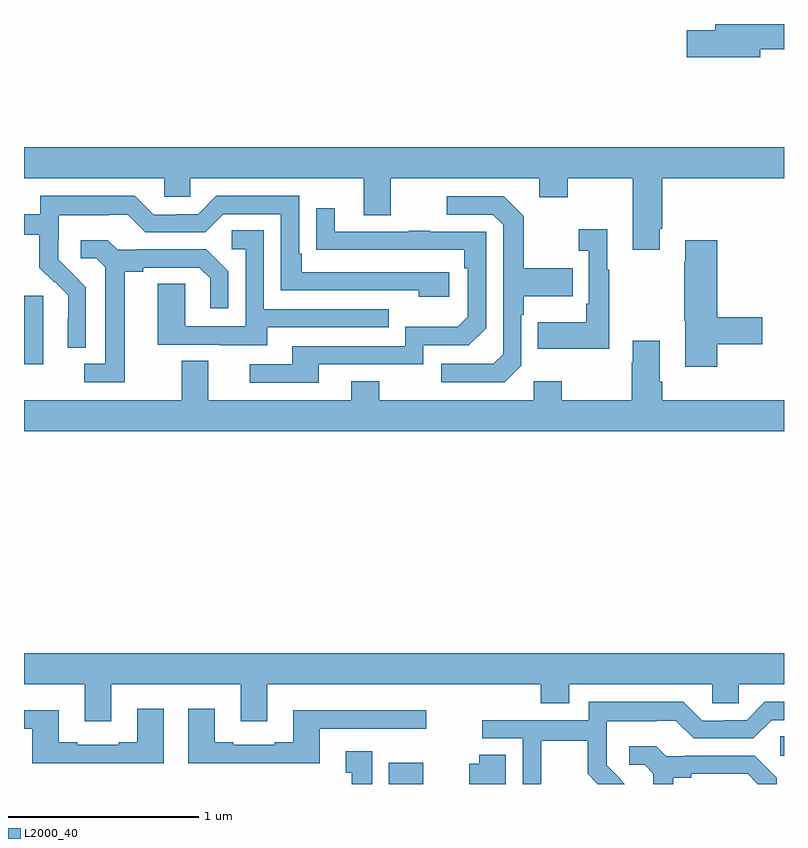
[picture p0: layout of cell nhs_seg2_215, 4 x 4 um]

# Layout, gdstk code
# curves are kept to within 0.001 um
import gdstk
lib = gdstk.Library(unit=1e-6, precision=1e-09)
def R(c, l, rs):  # rectangles x0, y0, x1, y1
    for r in rs: c.add(gdstk.rectangle(r[:2], r[2:], *l))
def P(c, l, *ps):  # polygons
    for p in ps: c.add(gdstk.Polygon(p, *l))
L2000_40 = (2000, 40)

nhs_seg2_215 = lib.new_cell('nhs_seg2_215')
R(nhs_seg2_215, L2000_40, [(122.921,625.8,123.1,625.912), (124.98,625.95,125,626.051), (121,628.01,121.102,628.371)])
P(nhs_seg2_215, L2000_40, [(124.876,629.668),(125,629.668),(125,629.8),(124.637,629.8),(124.637,629.768),(124.488,629.768),(124.488,629.626),(124.876,629.626)],
  [(124.345,628.723),(124.358,628.723),(124.358,628.988),(125,628.988),(125,629.152),(121,629.152),(121,628.988),(121.737,628.988),(121.737,628.89),(121.875,628.89),(121.875,628.988),(122.789,628.988),(122.789,628.794),(122.929,628.794),(122.929,628.988),(123.713,628.988),(123.713,628.889),(123.861,628.889),(123.861,628.988),(124.205,628.988),(124.205,628.611),(124.345,628.611)],
  [(121.326,628.414),(121.18,628.562),(121.18,628.659),(121.182,628.659),(121.182,628.793),(121.445,628.793),(121.445,628.797),(121.545,628.797),(121.638,628.704),(121.953,628.704),(122.049,628.8),(122.352,628.8),(122.352,628.398),(123.077,628.398),(123.077,628.364),(123.238,628.364),(123.238,628.494),(122.461,628.494),(122.461,628.591),(122.448,628.591),(122.448,628.896),(122.013,628.896),(121.917,628.8),(121.799,628.8),(121.799,628.797),(121.683,628.797),(121.583,628.897),(121.086,628.897),(121.086,628.8),(121,628.8),(121,628.692),(121.081,628.692),(121.081,628.517),(121.158,628.44),(121.161,628.443),(121.232,628.373),(121.232,628.25),(121.23,628.25),(121.23,628.096),(121.326,628.096)],
  [(123.618,628.002),(123.618,628.271),(123.631,628.271),(123.631,628.367),(123.887,628.367),(123.887,628.515),(123.631,628.515),(123.631,628.787),(123.525,628.893),(123.225,628.893),(123.225,628.797),(123.468,628.797),(123.522,628.743),(123.522,628.062),(123.471,628.011),(123.195,628.011),(123.195,627.915),(123.531,627.915)],
  [(122.551,628.008),(123.102,628.008),(123.102,628.11),(123.342,628.11),(123.432,628.2),(123.432,628.707),(123.137,628.707),(123.137,628.712),(123.025,628.712),(123.025,628.707),(122.635,628.707),(122.635,628.831),(122.539,628.831),(122.539,628.612),(123.316,628.611),(123.316,628.514),(123.336,628.514),(123.336,628.26),(123.283,628.207),(123.006,628.207),(123.006,628.104),(122.411,628.104),(122.411,628.008),(122.187,628.008),(122.187,627.912),(122.551,627.912)],
  [(124.081,628.507),(124.069,628.507),(124.069,628.72),(123.921,628.72),(123.921,628.607),(123.972,628.607),(123.972,628.327),(123.96,628.327),(123.96,628.231),(123.703,628.231),(123.703,628.091),(124.081,628.091)],
  [(122.281,628.203),(122.921,628.203),(122.921,628.299),(122.262,628.299),(122.262,628.715),(122.094,628.715),(122.094,628.614),(122.166,628.614),(122.166,628.209),(121.848,628.209),(121.848,628.433),(121.703,628.433),(121.703,628.113),(122.027,628.113),(122.027,628.109),(122.281,628.109)],
  [(124.649,628.114),(124.885,628.114),(124.885,628.256),(124.649,628.256),(124.649,628.663),(124.481,628.663),(124.481,628.55),(124.474,628.55),(124.474,628.239),(124.481,628.239),(124.481,627.996),(124.649,627.996)],
  [(121.531,628.496),(121.627,628.496),(121.627,628.518),(121.922,628.518),(121.979,628.461),(121.979,628.305),(122.076,628.305),(122.076,628.498),(121.96,628.614),(121.588,628.614),(121.588,628.611),(121.494,628.611),(121.442,628.663),(121.299,628.663),(121.299,628.566),(121.38,628.566),(121.427,628.519),(121.427,628.011),(121.317,628.011),(121.317,627.915),(121.531,627.915)],
  [(125,627.82),(124.358,627.82),(124.358,627.916),(124.345,627.916),(124.345,628.132),(124.205,628.132),(124.205,628.019),(124.198,628.019),(124.198,627.82),(123.831,627.82),(123.831,627.919),(123.684,627.919),(123.684,627.82),(122.871,627.82),(122.871,627.919),(122.723,627.919),(122.723,627.82),(121.969,627.82),(121.969,628.028),(121.829,628.028),(121.829,627.82),(121,627.82),(121,627.656),(125,627.656)],
  [(121.459,626.324),(122.141,626.324),(122.141,626.13),(122.281,626.13),(122.281,626.324),(123.719,626.324),(123.719,626.225),(123.871,626.225),(123.871,626.324),(124.623,626.324),(124.623,626.226),(124.761,626.226),(124.761,626.324),(125,626.324),(125,626.488),(121,626.488),(121,626.324),(121.319,626.324),(121.319,626.13),(121.459,626.13)],
  [(123.72,625.804),(123.723,625.804),(123.723,626.028),(123.967,626.028),(123.967,625.853),(124.02,625.8),(124.162,625.8),(124.139,625.823),(124.14,625.824),(124.066,625.898),(124.066,625.995),(124.068,625.995),(124.068,626.129),(124.331,626.129),(124.331,626.133),(124.431,626.133),(124.524,626.04),(124.839,626.04),(124.935,626.136),(125,626.136),(125,626.232),(124.899,626.232),(124.803,626.136),(124.685,626.136),(124.685,626.133),(124.569,626.133),(124.469,626.233),(123.972,626.233),(123.972,626.136),(123.411,626.136),(123.411,626.04),(123.624,626.04),(123.624,625.8),(123.72,625.8)],
  [(122.557,626.091),(123.118,626.091),(123.118,626.188),(122.417,626.188),(122.417,626.02),(122.321,626.02),(122.321,626.007),(122.101,626.007),(122.101,626.02),(122.005,626.02),(122.005,626.197),(121.865,626.197),(121.865,625.91),(122.557,625.91)],
  [(121.735,626.197),(121.595,626.197),(121.595,626.02),(121.499,626.02),(121.499,626.007),(121.279,626.007),(121.279,626.02),(121.183,626.02),(121.183,626.188),(121,626.188),(121,626.091),(121.043,626.091),(121.043,625.91),(121.735,625.91)],
  [(124.417,625.832),(124.513,625.832),(124.513,625.854),(124.808,625.854),(124.862,625.8),(124.962,625.8),(124.962,625.834),(124.846,625.95),(124.474,625.95),(124.474,625.947),(124.38,625.947),(124.328,625.999),(124.185,625.999),(124.185,625.902),(124.266,625.902),(124.313,625.855),(124.313,625.8),(124.417,625.8)],
  [(122.833,625.972),(122.693,625.972),(122.693,625.859),(122.726,625.859),(122.726,625.8),(122.833,625.8)],
  [(123.535,625.955),(123.397,625.955),(123.397,625.906),(123.344,625.906),(123.344,625.8),(123.535,625.8)])

lib.write_gds('nhs_seg2_215.gds')
